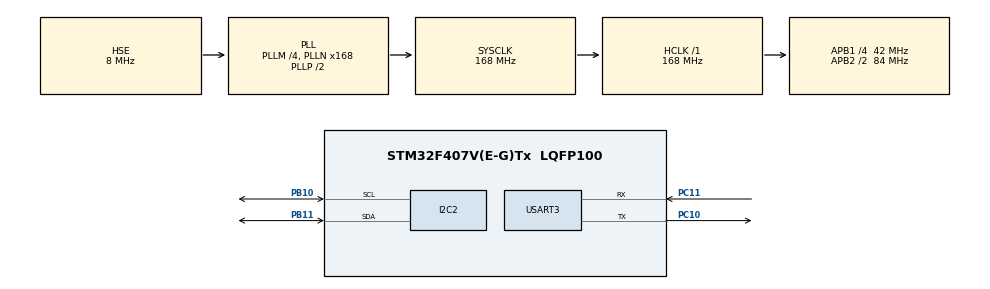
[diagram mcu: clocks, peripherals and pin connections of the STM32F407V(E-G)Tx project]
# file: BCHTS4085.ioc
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Mcu.Family=STM32F4
Mcu.Name=STM32F407V(E-G)Tx
Mcu.Package=LQFP100
NVIC.PriorityGroup=NVIC_PRIORITYGROUP_4
PB10.Mode=I2C
PB10.Signal=I2C2_SCL
PB11.Mode=I2C
PB11.Signal=I2C2_SDA
PC10.Mode=Asynchronous
PC10.Signal=USART3_TX
PC11.Mode=Asynchronous
PC11.Signal=USART3_RX
PH0-OSC_IN.Mode=HSE-External-Oscillator
PH0-OSC_IN.Signal=RCC_OSC_IN
PH1-OSC_OUT.Mode=HSE-External-Oscillator
PH1-OSC_OUT.Signal=RCC_OSC_OUT
ProjectManager.HeapSize=0x200
ProjectManager.StackSize=0x400
ProjectManager.TargetToolchain=MDK-ARM V5
RCC.48MHZClocksFreq_Value=84000000
RCC.AHBFreq_Value=168000000
RCC.APB1CLKDivider=RCC_HCLK_DIV4
RCC.APB1Freq_Value=42000000
RCC.APB1TimFreq_Value=84000000
RCC.APB2CLKDivider=RCC_HCLK_DIV2
RCC.APB2Freq_Value=84000000
RCC.APB2TimFreq_Value=168000000
RCC.CortexFreq_Value=168000000
RCC.HCLKFreq_Value=168000000
RCC.HSE_VALUE=8000000
RCC.HSI_VALUE=16000000
RCC.LSE_VALUE=32768
RCC.PLLM=4
RCC.PLLN=168
RCC.PLLSourceVirtual=RCC_PLLSOURCE_HSE
RCC.SYSCLKFreq_VALUE=168000000
RCC.SYSCLKSource=RCC_SYSCLKSOURCE_PLLCLK
RCC.VCOOutputFreq_Value=336000000
USART3.VirtualMode=VM_ASYNC
board=custom

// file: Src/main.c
/* USER CODE BEGIN Header */
/**
  ******************************************************************************
  * @file           : main.c
  * @brief          : Main program body
  ******************************************************************************
  ** This notice applies to any and all portions of this file
  * that are not between comment pairs USER CODE BEGIN and
  * USER CODE END. Other portions of this file, whether
  * inserted by the user or by software development tools
  * are owned by their respective copyright owners.
  *
  * COPYRIGHT(c) 2019 STMicroelectronics
  *
  * Redistribution and use in source and binary forms, with or without modification,
  * are permitted provided that the following conditions are met:
  *   1. Redistributions of source code must retain the above copyright notice,
  *      this list of conditions and the following disclaimer.
  *   2. Redistributions in binary form must reproduce the above copyright notice,
  *      this list of conditions and the following disclaimer in the documentation
  *      and/or other materials provided with the distribution.
  *   3. Neither the name of STMicroelectronics nor the names of its contributors
  *      may be used to endorse or promote products derived from this software
  *      without specific prior written permission.
  *
  * THIS SOFTWARE IS PROVIDED BY THE COPYRIGHT HOLDERS AND CONTRIBUTORS "AS IS"
  * AND ANY EXPRESS OR IMPLIED WARRANTIES, INCLUDING, BUT NOT LIMITED TO, THE
  * IMPLIED WARRANTIES OF MERCHANTABILITY AND FITNESS FOR A PARTICULAR PURPOSE ARE
  * DISCLAIMED. IN NO EVENT SHALL THE COPYRIGHT HOLDER OR CONTRIBUTORS BE LIABLE
  * FOR ANY DIRECT, INDIRECT, INCIDENTAL, SPECIAL, EXEMPLARY, OR CONSEQUENTIAL
  * DAMAGES (INCLUDING, BUT NOT LIMITED TO, PROCUREMENT OF SUBSTITUTE GOODS OR
  * SERVICES; LOSS OF USE, DATA, OR PROFITS; OR BUSINESS INTERRUPTION) HOWEVER
  * CAUSED AND ON ANY THEORY OF LIABILITY, WHETHER IN CONTRACT, STRICT LIABILITY,
  * OR TORT (INCLUDING NEGLIGENCE OR OTHERWISE) ARISING IN ANY WAY OUT OF THE USE
  * OF THIS SOFTWARE, EVEN IF ADVISED OF THE POSSIBILITY OF SUCH DAMAGE.
  *
  ******************************************************************************
  */
/* USER CODE END Header */
#include "main.h"
/* USER CODE BEGIN Includes */
#include <stdio.h>
#include "BCHTS4085.h"
/* USER CODE END Includes */

/* USER CODE BEGIN PD */
#define BCHTS4085_ADDR 0x40
/* USER CODE END PD */

I2C_HandleTypeDef hi2c2;

UART_HandleTypeDef huart3;

void SystemClock_Config(void);
static void MX_GPIO_Init(void);
static void MX_I2C2_Init(void);
static void MX_USART3_UART_Init(void);
/* USER CODE BEGIN PFP */
void sensorInitialize(void);
void readSensorData(void);
/* USER CODE END PFP */

/* USER CODE BEGIN 0 */
int fputc(int ch, FILE *f)
{
	HAL_UART_Transmit(&huart3, (uint8_t *)&ch, 1, 0xFFFF);

	return ch;
}
/* USER CODE END 0 */

int main(void)
{

  /* MCU Configuration--------------------------------------------------------*/

  /* Reset of all peripherals, Initializes the Flash interface and the Systick. */
  HAL_Init();

  /* Configure the system clock */
  SystemClock_Config();

  /* Initialize all configured peripherals */
  MX_GPIO_Init();
  MX_I2C2_Init();
  MX_USART3_UART_Init();
  /* USER CODE BEGIN 2 */
	sensorInitialize();
  /* USER CODE END 2 */

  /* Infinite loop */
  /* USER CODE BEGIN WHILE */
  while (1)
  {
		readSensorData();
		HAL_Delay(1000);
    /* USER CODE END WHILE */

  }
}

void SystemClock_Config(void)
{
  RCC_OscInitTypeDef RCC_OscInitStruct = {0};
  RCC_ClkInitTypeDef RCC_ClkInitStruct = {0};

  /**Configure the main internal regulator output voltage
  */
  __HAL_RCC_PWR_CLK_ENABLE();
  __HAL_PWR_VOLTAGESCALING_CONFIG(PWR_REGULATOR_VOLTAGE_SCALE1);
  /**Initializes the CPU, AHB and APB busses clocks
  */
  RCC_OscInitStruct.OscillatorType = RCC_OSCILLATORTYPE_HSE;
  RCC_OscInitStruct.HSEState = RCC_HSE_ON;
  RCC_OscInitStruct.PLL.PLLState = RCC_PLL_ON;
  RCC_OscInitStruct.PLL.PLLSource = RCC_PLLSOURCE_HSE;
  RCC_OscInitStruct.PLL.PLLM = 4;
  RCC_OscInitStruct.PLL.PLLN = 168;
  RCC_OscInitStruct.PLL.PLLP = RCC_PLLP_DIV2;
  RCC_OscInitStruct.PLL.PLLQ = 4;
  if (HAL_RCC_OscConfig(&RCC_OscInitStruct) != HAL_OK)
  {
    Error_Handler();
  }
  /**Initializes the CPU, AHB and APB busses clocks
  */
  RCC_ClkInitStruct.ClockType = RCC_CLOCKTYPE_HCLK|RCC_CLOCKTYPE_SYSCLK
                              |RCC_CLOCKTYPE_PCLK1|RCC_CLOCKTYPE_PCLK2;
  RCC_ClkInitStruct.SYSCLKSource = RCC_SYSCLKSOURCE_PLLCLK;
  RCC_ClkInitStruct.AHBCLKDivider = RCC_SYSCLK_DIV1;
  RCC_ClkInitStruct.APB1CLKDivider = RCC_HCLK_DIV4;
  RCC_ClkInitStruct.APB2CLKDivider = RCC_HCLK_DIV2;

  if (HAL_RCC_ClockConfig(&RCC_ClkInitStruct, FLASH_LATENCY_5) != HAL_OK)
  {
    Error_Handler();
  }
}

static void MX_I2C2_Init(void)
{

  hi2c2.Instance = I2C2;
  hi2c2.Init.ClockSpeed = 100000;
  hi2c2.Init.DutyCycle = I2C_DUTYCYCLE_2;
  hi2c2.Init.OwnAddress1 = 0;
  hi2c2.Init.AddressingMode = I2C_ADDRESSINGMODE_7BIT;
  hi2c2.Init.DualAddressMode = I2C_DUALADDRESS_DISABLE;
  hi2c2.Init.OwnAddress2 = 0;
  hi2c2.Init.GeneralCallMode = I2C_GENERALCALL_DISABLE;
  hi2c2.Init.NoStretchMode = I2C_NOSTRETCH_DISABLE;
  if (HAL_I2C_Init(&hi2c2) != HAL_OK)
  {
    Error_Handler();
  }

}

static void MX_USART3_UART_Init(void)
{

  huart3.Instance = USART3;
  huart3.Init.BaudRate = 115200;
  huart3.Init.WordLength = UART_WORDLENGTH_8B;
  huart3.Init.StopBits = UART_STOPBITS_1;
  huart3.Init.Parity = UART_PARITY_NONE;
  huart3.Init.Mode = UART_MODE_TX_RX;
  huart3.Init.HwFlowCtl = UART_HWCONTROL_NONE;
  huart3.Init.OverSampling = UART_OVERSAMPLING_16;
  if (HAL_UART_Init(&huart3) != HAL_OK)
  {
    Error_Handler();
  }

}

static void MX_GPIO_Init(void)
{

  /* GPIO Ports Clock Enable */
  __HAL_RCC_GPIOH_CLK_ENABLE();
  __HAL_RCC_GPIOB_CLK_ENABLE();
  __HAL_RCC_GPIOC_CLK_ENABLE();

}

/* USER CODE BEGIN 4 */

void sensorInitialize(void)
{
	printf("[BCHTS4085] Temperature & Humidity Sensor Enabled\n");
	BCHTS4085_init(BCHTS4085_ADDR, &hi2c2);
	BCHTS4085_setTempRes(BCHTS4085_FOURTEEN_BIT);
  BCHTS4085_setHumidRes(BCHTS4085_FOURTEEN_BIT);
  BCHTS4085_setRate(BCHTS4085_ONE_HZ);
  BCHTS4085_triggerMeasurement();
	printf("Initialized BC Sensors Series\n");
	printf("\n");
	printf("\n");
}
void readSensorData(void)
{
	printf("[BCHTS4085] Temp : %0.2f  C   Humid : %0.2f %%\n", BCHTS4085_readTemp(), BCHTS4085_readHumidity());
}

/* USER CODE END 4 */

void Error_Handler(void)
{
}

/************************ (C) COPYRIGHT STMicroelectronics *****END OF FILE****/
